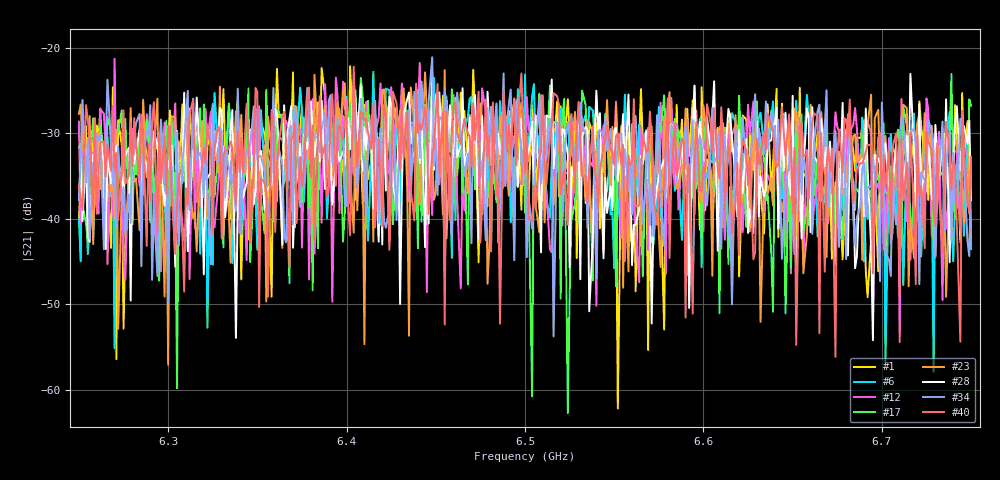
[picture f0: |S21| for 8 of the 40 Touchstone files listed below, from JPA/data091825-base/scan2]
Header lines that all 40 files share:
# Hz S RI R 50
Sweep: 6.25 GHz to 6.75 GHz
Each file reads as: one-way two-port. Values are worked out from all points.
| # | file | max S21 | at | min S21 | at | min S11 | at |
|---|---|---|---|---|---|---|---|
| 1 | trace0.s2p | -22.17 dB | 6.402 GHz | -62.2 dB | 6.552 GHz | -3.5 dB | 6.66 GHz |
| 2 | trace1.s2p | -23.14 dB | 6.396 GHz | -61.3 dB | 6.65 GHz | -3.4 dB | 6.625 GHz |
| 3 | trace2.s2p | -22.27 dB | 6.43 GHz | -65.7 dB | 6.675 GHz | -3.5 dB | 6.624 GHz |
| 4 | trace3.s2p | -21.44 dB | 6.426 GHz | -60.6 dB | 6.471 GHz | -3.3 dB | 6.63 GHz |
| 5 | trace4.s2p | -23.72 dB | 6.349 GHz | -57.1 dB | 6.37 GHz | -3.5 dB | 6.641 GHz |
| 6 | trace5.s2p | -22.84 dB | 6.415 GHz | -57.9 dB | 6.729 GHz | -3.3 dB | 6.64 GHz |
| 7 | trace6.s2p | -22.45 dB | 6.362 GHz | -56.8 dB | 6.615 GHz | -3.3 dB | 6.618 GHz |
| 8 | trace7.s2p | -19.41 dB | 6.439 GHz | -53.0 dB | 6.619 GHz | -3.2 dB | 6.634 GHz |
| 9 | trace8.s2p | -22.60 dB | 6.63 GHz | -63.2 dB | 6.615 GHz | -3.1 dB | 6.62 GHz |
| 10 | trace9.s2p | -20.25 dB | 6.446 GHz | -68.3 dB | 6.25 GHz | -3.4 dB | 6.65 GHz |
| 11 | trace10.s2p | -22.89 dB | 6.475 GHz | -59.4 dB | 6.549 GHz | -3.6 dB | 6.668 GHz |
| 12 | trace11.s2p | -21.30 dB | 6.27 GHz | -54.4 dB | 6.71 GHz | -3.3 dB | 6.648 GHz |
| 13 | trace12.s2p | -21.82 dB | 6.411 GHz | -67.9 dB | 6.749 GHz | -3.2 dB | 6.64 GHz |
| 14 | trace13.s2p | -23.19 dB | 6.696 GHz | -53.1 dB | 6.294 GHz | -3.1 dB | 6.654 GHz |
| 15 | trace14.s2p | -23.22 dB | 6.438 GHz | -58.3 dB | 6.732 GHz | -3.1 dB | 6.655 GHz |
| 16 | trace15.s2p | -22.78 dB | 6.475 GHz | -54.1 dB | 6.598 GHz | -3.4 dB | 6.68 GHz |
| 17 | trace16.s2p | -23.08 dB | 6.739 GHz | -62.7 dB | 6.524 GHz | -3.6 dB | 6.615 GHz |
| 18 | trace17.s2p | -22.85 dB | 6.508 GHz | -65.4 dB | 6.554 GHz | -3.5 dB | 6.62 GHz |
| 19 | trace18.s2p | -19.65 dB | 6.451 GHz | -66.2 dB | 6.688 GHz | -3.5 dB | 6.648 GHz |
| 20 | trace19.s2p | -22.29 dB | 6.436 GHz | -52.9 dB | 6.66 GHz | -3.2 dB | 6.628 GHz |
| 21 | trace20.s2p | -22.58 dB | 6.414 GHz | -63.5 dB | 6.278 GHz | -3.2 dB | 6.658 GHz |
| 22 | trace21.s2p | -20.88 dB | 6.46 GHz | -57.3 dB | 6.612 GHz | -3.5 dB | 6.62 GHz |
| 23 | trace22.s2p | -22.62 dB | 6.455 GHz | -57.1 dB | 6.3 GHz | -3.2 dB | 6.618 GHz |
| 24 | trace23.s2p | -22.52 dB | 6.494 GHz | -65.5 dB | 6.67 GHz | -3.4 dB | 6.652 GHz |
| 25 | trace24.s2p | -21.00 dB | 6.476 GHz | -65.3 dB | 6.388 GHz | -3.5 dB | 6.636 GHz |
| 26 | trace25.s2p | -22.66 dB | 6.448 GHz | -72.0 dB | 6.694 GHz | -3.5 dB | 6.614 GHz |
| 27 | trace26.s2p | -21.69 dB | 6.394 GHz | -56.4 dB | 6.281 GHz | -3.6 dB | 6.644 GHz |
| 28 | trace27.s2p | -22.91 dB | 6.448 GHz | -54.2 dB | 6.695 GHz | -3.4 dB | 6.654 GHz |
| 29 | trace28.s2p | -22.32 dB | 6.459 GHz | -60.2 dB | 6.574 GHz | -3.4 dB | 6.632 GHz |
| 30 | trace29.s2p | -21.34 dB | 6.486 GHz | -57.4 dB | 6.679 GHz | -3.8 dB | 6.622 GHz |
| 31 | trace30.s2p | -21.02 dB | 6.422 GHz | -73.9 dB | 6.729 GHz | -3.4 dB | 6.649 GHz |
| 32 | trace31.s2p | -21.89 dB | 6.47 GHz | -53.2 dB | 6.371 GHz | -3.4 dB | 6.634 GHz |
| 33 | trace32.s2p | -22.52 dB | 6.254 GHz | -62.3 dB | 6.545 GHz | -3.2 dB | 6.641 GHz |
| 34 | trace33.s2p | -21.13 dB | 6.448 GHz | -53.8 dB | 6.516 GHz | -3.2 dB | 6.666 GHz |
| 35 | trace34.s2p | -21.22 dB | 6.47 GHz | -72.3 dB | 6.26 GHz | -3.2 dB | 6.622 GHz |
| 36 | trace35.s2p | -21.60 dB | 6.5 GHz | -66.9 dB | 6.3 GHz | -3.2 dB | 6.62 GHz |
| 37 | trace36.s2p | -23.21 dB | 6.414 GHz | -59.3 dB | 6.534 GHz | -3.5 dB | 6.622 GHz |
| 38 | trace37.s2p | -22.48 dB | 6.526 GHz | -65.3 dB | 6.322 GHz | -3.3 dB | 6.65 GHz |
| 39 | trace38.s2p | -22.36 dB | 6.44 GHz | -63.8 dB | 6.379 GHz | -3.7 dB | 6.624 GHz |
| 40 | trace39.s2p | -22.24 dB | 6.404 GHz | -56.2 dB | 6.674 GHz | -3.2 dB | 6.628 GHz |
